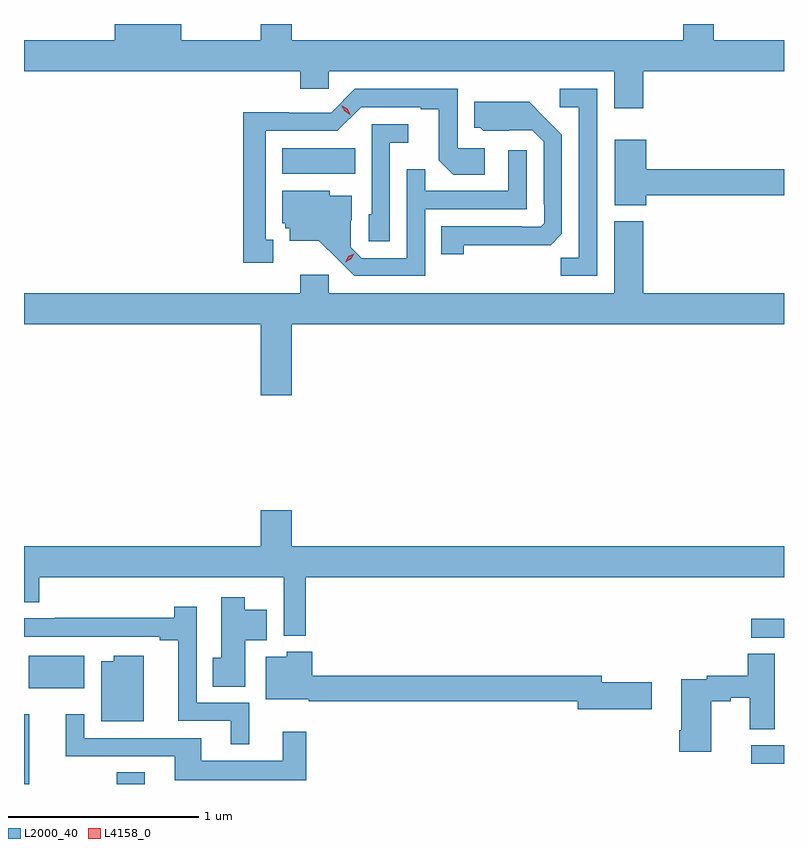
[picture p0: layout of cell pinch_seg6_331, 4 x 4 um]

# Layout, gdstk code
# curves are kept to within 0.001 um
import gdstk
lib = gdstk.Library(unit=1e-6, precision=1e-09)
def R(c, l, rs):  # rectangles x0, y0, x1, y1
    for r in rs: c.add(gdstk.rectangle(r[:2], r[2:], *l))
def P(c, l, *ps):  # polygons
    for p in ps: c.add(gdstk.Polygon(p, *l))
L2000_40 = (2000, 40)
L4158_0 = (4158, 0)

pinch_seg6_331 = lib.new_cell('pinch_seg6_331')
R(pinch_seg6_331, L2000_40, [(727.198,935.593,727.226,935.959), (727.687,935.593,727.834,935.654), (731.025,935.7,731.198,935.796), (727.223,936.098,727.516,936.268), (731.025,936.363,731.198,936.462), (728.558,938.804,728.942,938.938)])
P(pinch_seg6_331, L2000_40, [(730.457,939.344),(731.198,939.344),(731.198,939.508),(730.827,939.508),(730.827,939.593),(730.667,939.593),(730.667,939.508),(728.608,939.508),(728.608,939.593),(728.444,939.593),(728.444,939.508),(728.026,939.508),(728.026,939.593),(727.676,939.593),(727.676,939.508),(727.198,939.508),(727.198,939.344),(728.651,939.344),(728.651,939.251),(728.802,939.251),(728.802,939.344),(730.304,939.344),(730.304,939.15),(730.457,939.15)],
  [(730.215,939.252),(730.017,939.252),(730.017,939.156),(730.119,939.156),(730.119,938.363),(730.024,938.363),(730.024,938.268),(730.215,938.268)],
  [(728.509,938.457),(728.47,938.457),(728.47,939.03),(728.847,939.03),(728.973,939.156),(729.287,939.156),(729.287,939.144),(729.381,939.144),(729.381,938.876),(729.457,938.8),(729.622,938.8),(729.622,938.94),(729.48,938.94),(729.48,939.252),(728.94,939.252),(728.814,939.126),(728.592,939.126),(728.592,939.128),(728.352,939.128),(728.352,938.337),(728.509,938.337)],
  [(729.513,938.428),(729.97,938.429),(730.029,938.488),(730.029,939.01),(729.857,939.184),(729.569,939.184),(729.569,939.048),(729.6,939.048),(729.616,939.032),(729.873,939.033),(729.933,938.973),(729.933,938.644),(729.936,938.644),(729.936,938.544),(729.918,938.526),(729.818,938.526),(729.818,938.529),(729.394,938.529),(729.394,938.382),(729.513,938.382)],
  [(729.123,938.969),(729.22,938.969),(729.22,939.066),(729.027,939.066),(729.027,938.592),(729.012,938.592),(729.012,938.449),(729.123,938.449)],
  [(730.474,938.692),(731.198,938.692),(731.198,938.828),(730.474,938.828),(730.474,938.983),(730.307,938.983),(730.307,938.639),(730.474,938.639)],
  [(729.309,938.619),(729.843,938.619),(729.843,938.929),(729.747,938.929),(729.747,938.715),(729.311,938.715),(729.311,938.828),(729.213,938.828),(729.213,938.361),(728.976,938.361),(728.919,938.418),(728.919,938.56),(728.923,938.56),(728.923,938.689),(728.808,938.689),(728.808,938.716),(728.558,938.716),(728.558,938.544),(728.574,938.544),(728.574,938.517),(728.597,938.517),(728.597,938.453),(728.749,938.453),(728.936,938.268),(729.309,938.268)],
  [(728.608,938.012),(731.198,938.012),(731.198,938.176),(730.457,938.176),(730.457,938.554),(730.304,938.554),(730.304,938.176),(728.802,938.176),(728.802,938.272),(728.651,938.272),(728.651,938.176),(727.198,938.176),(727.198,938.012),(728.444,938.012),(728.444,937.638),(728.608,937.638)],
  [(728.681,936.68),(731.198,936.68),(731.198,936.844),(728.608,936.844),(728.608,937.033),(728.444,937.033),(728.444,936.844),(727.198,936.844),(727.198,936.55),(727.277,936.55),(727.277,936.68),(728.565,936.68),(728.565,936.374),(728.681,936.374)],
  [(728.362,936.35),(728.476,936.35),(728.476,936.511),(728.359,936.511),(728.359,936.577),(728.237,936.577),(728.237,936.258),(728.191,936.258),(728.191,936.106),(728.362,936.106)],
  [(728.383,936.021),(728.106,936.021),(728.106,936.526),(727.99,936.526),(727.99,936.467),(727.36,936.467),(727.36,936.465),(727.198,936.465),(727.198,936.369),(727.913,936.369),(727.913,936.349),(728.009,936.349),(728.009,935.925),(728.285,935.925),(728.285,935.801),(728.383,935.801)],
  [(730.501,936.128),(730.24,936.128),(730.24,936.164),(728.714,936.164),(728.714,936.289),(728.58,936.289),(728.58,936.262),(728.471,936.262),(728.471,936.038),(728.697,936.038),(728.697,936.028),(730.112,936.028),(730.112,935.986),(730.501,935.986)],
  [(730.816,936.028),(730.917,936.028),(730.917,936.046),(731.018,936.046),(731.018,935.881),(731.149,935.881),(731.149,936.278),(731.006,936.278),(731.006,936.164),(730.792,936.164),(730.792,936.144),(730.658,936.144),(730.658,935.875),(730.646,935.875),(730.646,935.763),(730.816,935.763)],
  [(727.828,936.268),(727.67,936.268),(727.67,936.238),(727.604,936.238),(727.604,935.924),(727.828,935.924)],
  [(728.683,935.869),(728.561,935.869),(728.561,935.716),(728.131,935.716),(728.131,935.835),(727.515,935.835),(727.515,935.959),(727.418,935.959),(727.418,935.739),(727.991,935.739),(727.991,935.612),(728.683,935.612)])
P(pinch_seg6_331, L4158_0, [(728.888,938.34),(728.888,938.34),(728.904,938.37),(728.935,938.385),(728.935,938.385),(728.935,938.385),(728.918,938.355),(728.888,938.34)],
  [(728.917,939.114),(728.886,939.133),(728.868,939.165),(728.868,939.166),(728.868,939.166),(728.9,939.147),(728.918,939.114),(728.918,939.114)])

lib.write_gds('pinch_seg6_331.gds')
